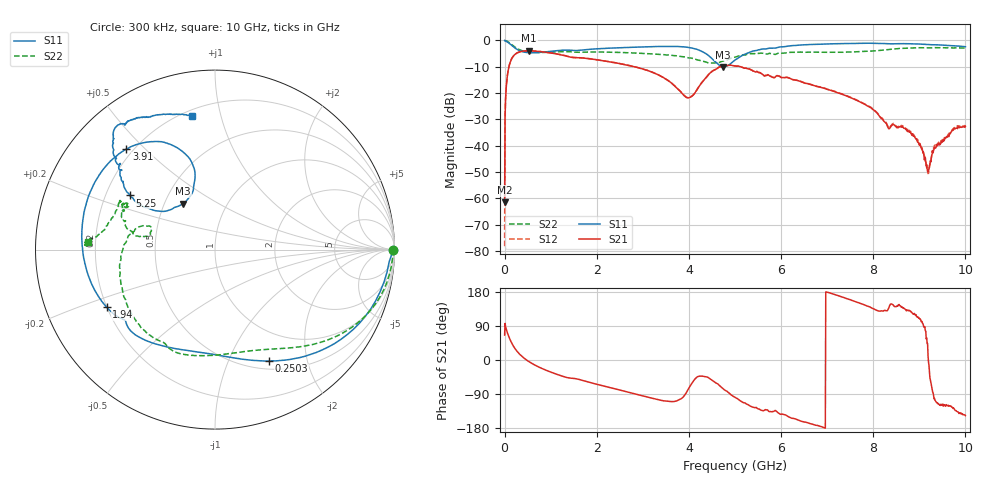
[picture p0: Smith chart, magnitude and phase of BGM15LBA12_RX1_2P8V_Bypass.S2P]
!Agilent Technologies,E5071C,MY46316587,B.13.01
!Date: Thu Dec 07 13:58:37 2017
!Data & Calibration Information:
!Freq	S11:SOLT2(ON)	S21:SOLT2(ON)	S12:SOLT2(ON)	S22:SOLT2(ON)
!PortZ  Port1:50+j0  Port2:50+j0
!Above PortZ is port z conversion or system Z0 setting when saving the data.
!When reading, reference impedance value at option line is always used.
# Hz S dB R 50
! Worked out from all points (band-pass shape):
!   1001 points, 300 kHz to 10 GHz, reference 50 ohm
!   highest |S21| = -3.99 dB at 530.3 MHz (marker M1); lowest = -61.5 dB at 300 kHz (marker M2)
!   |S21| within 3 dB of the highest: 154.4 MHz to 1.832 GHz (1.678 GHz wide, 169 % of centre)
!   lowest |S11| = -10.1 dB at 4.74 GHz (marker M3), VSWR 1.91, Z = 31.1 + j17.6 ohm
!   |S11| at or under -10 dB: 4.709 GHz to 4.774 GHz (65.35 MHz wide, 1.38 % of centre)
!   |S22| runs from -8.7 to -0.1 dB; largest |S21 - S12| = 0.0036
!   S11 on the Smith chart (normalised r, x): 300 kHz: open; 250.3 MHz: 0.60, -1.42; 1.94 GHz: 0.20, -0.24; 3.91 GHz: 0.17, +0.44; 5.25 GHz: 0.30, +0.27; 10 GHz: 0.23, +0.81
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300000  -0.07 -0.3  -61.52 65.7  -78.16 112.3  -0.06 -0.0
6.02982e7  -0.64 -20.9  -13.45 72.0  -13.36 72.0  -0.39 -16.1
1.302961e8  -1.59 -40.7  -7.95 50.6  -7.90 50.5  -1.28 -31.5
2.502925e8  -3.23 -64.3  -5.02 26.0  -5.00 25.9  -2.88 -49.0
5.302841e8  -4.73 -93.9  -3.99 -4.4  -3.98 -4.6  -4.50 -71.8
1.040269e9  -4.12 -122.6  -4.92 -33.6  -4.89 -33.8  -4.47 -98.7
1.67025e9  -3.71 -144.3  -6.68 -53.1  -6.62 -53.1  -4.53 -120.2
1.940242e9  -3.30 -152.1  -7.25 -62.1  -7.22 -62.0  -4.45 -127.1
3.3402e9  -2.34 158.9  -13.15 -104.8  -13.14 -104.5  -5.34 -167.9
3.910183e9  -2.54 131.4  -21.22 -92.4  -21.12 -92.0  -6.31 170.2
4.080178e9  -3.00 122.2  -21.02 -58.6  -20.94 -58.5  -6.87 164.8
4.440167e9  -6.02 104.9  -12.73 -48.2  -12.73 -48.1  -8.58 162.5
4.740158e9  -10.13 124.9  -9.74 -75.7  -9.77 -75.8  -7.88 169.6
5.00015e9  -7.50 147.8  -9.74 -98.6  -9.72 -98.6  -6.41 167.6
5.250142e9  -4.99 147.6  -10.65 -116.3  -10.64 -116.5  -5.38 161.9
6.6701e9  -1.57 132.7  -16.96 -169.0  -16.84 -169.0  -4.51 153.5
7.800066e9  -1.12 128.8  -24.17 145.7  -24.01 145.9  -4.23 167.0
8.34005e9  -1.35 125.8  -33.63 138.1  -33.26 138.4  -3.51 173.9
8.880034e9  -1.37 121.3  -36.33 122.5  -36.21 121.0  -2.88 176.4
9.190024e9  -1.59 117.2  -49.71 8.9  -50.61 18.8  -2.81 176.8
9.360019e9  -1.70 114.9  -40.74 -109.9  -39.72 -107.3  -2.81 177.6
1e10  -2.44 99.9  -32.68 -146.7  -32.18 -144.0  -2.97 176.8
